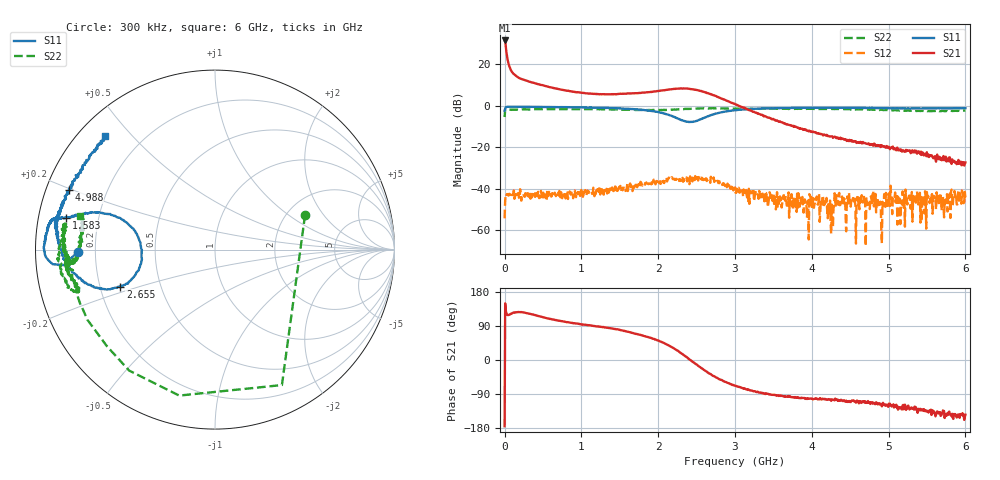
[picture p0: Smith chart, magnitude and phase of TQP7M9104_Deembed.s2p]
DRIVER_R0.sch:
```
<QucsStudio Schematic 4.3.1>
<Properties>
View=84,54,1525,937,1.02492,0,19
Grid=10,10,0
DataSet=*.dat
DataDisplay=*.sch
OpenDisplay=1
showFrame=0
FrameText0=Title
FrameText1=Drawn By:
FrameText2=Date:
FrameText3=Revision:
</Properties>
<Symbol>
</Symbol>
<Components>
Eqn Eqn1 1 300 120 0 8 0 0 "dBS11=dB(S[1,1])=" 1 "dBS21=dB(S[2,1])=" 1 "dBS12=dB(S[1,2])=" 1 "dBS22=dB(S[2,2])=" 1 "yes" 0
Pac P1 1 140 410 18 -26 0 0 "1" 1 "50 Ω" 1 "0 dBm" 0 "1 GHz" 0 "26.85" 0 "SUBCLICK" 0
GND * 1 250 410 0 0 0 0
Pac P2 1 360 410 18 -26 0 0 "2" 1 "50 Ω" 1 "0 dBm" 0 "1 GHz" 0 "26.85" 0 "SUBCLICK" 0
GND * 1 140 460 0 0 0 0
GND * 1 360 460 0 0 0 0
SPfile TQP7M9104_0 1 250 360 -26 -40 0 0 "TQP7M9104_Deembed.s2p" 0 "2" 0 "polar" 0 "linear" 0 "short" 0 "none" 0 "block" 0 "SOT23" 0
.SP SP1 1 140 100 0 63 0 0 "lin" 1 "1 GHz" 1 "6 GHz" 1 "501" 1 "no" 0 "1" 0 "2" 0 "none" 0
Eqn Eqn2 1 1120 120 0 8 0 0 "ZIN=50*(1+S[1,1])/(1-S[1,1])=" 1 "ZOUT=50*(1+S[2,2])/(1-S[2,2])=" 1 "yes" 0
</Components>
<Wires>
140 440 140 460 "" 0 0 0 ""
140 360 140 380 "" 0 0 0 ""
140 360 220 360 "" 0 0 0 ""
250 390 250 410 "" 0 0 0 ""
360 440 360 460 "" 0 0 0 ""
360 360 360 380 "" 0 0 0 ""
280 360 360 360 "" 0 0 0 ""
</Wires>
<Diagrams>
<Rect 180 820 428 214 31 #c0c0c0 1 00 0 1e+09 5e+08 6e+09 0 -20 4 20 0 -20 2 0 315 0 225 "" "" "">
	<Legend 10 -100 0>
	<"dBS11" "" #0000ff 0 3 0 0 1 0 "">
	<"dBS21" "" #ff0000 0 3 0 0 0 0 "">
	  <Mkr 2.4e+09 300 -270 3 1 0 0 0 50>
	  <Mkr 2.2e+09 0 -270 3 1 0 0 0 50>
	  <Mkr 2.3e+09 150 -270 3 1 0 0 0 50>
</Rect>
<Rect 740 820 428 214 31 #c0c0c0 1 00 0 1e+09 2e+08 3e+09 0 0 2 20 0 -20 2 0 315 0 225 "" "" "">
	<Legend 10 -100 0>
	<"dBS11" "" #0000ff 0 3 0 0 1 0 "">
	<"dBS21" "" #ff0000 0 3 0 0 0 0 "">
	  <Mkr 2.4e+09 300 -270 3 1 0 0 0 50>
	  <Mkr 2.3e+09 150 -270 3 1 0 0 0 50>
	  <Mkr 2.2e+09 0 -270 3 1 0 0 0 50>
</Rect>
<Smith 605 481 344 344 31 #c0c0c0 1 00 1 0 1 1 1 0 4 1 1 0 4 1 315 0 225 "" "" "">
	<Legend 10 -100 0>
	<"S[1,1]" "" #0000ff 0 3 0 0 0 0 "">
	  <Mkr 2.3e+09 -125 -371 3 1 0 0 1 50>
	<"S[2,2]" "" #ff0000 0 3 0 0 0 0 "">
	  <Mkr 2.3e+09 325 -371 3 1 0 0 1 50>
</Smith>
<Rect 1050 480 428 214 31 #c0c0c0 1 00 0 1e+09 2e+08 3e+09 1 0 200 800 1 0 0 0 315 0 225 "" "" "">
	<Legend 10 -100 0>
	<"ZIN" "" #0000ff 0 3 0 0 0 0 "">
	  <Mkr 2.3e+09 40 -200 3 1 0 0 0 50>
	<"ZOUT" "" #ff0000 0 3 0 0 0 0 "">
	  <Mkr 2.3e+09 40 -140 3 1 0 0 0 50>
</Rect>
</Diagrams>
<Paintings>
</Paintings>
```
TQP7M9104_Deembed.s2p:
! TriQuint Semiconductor
! Device: TQP7M9104 ( 5V 2W High Linearity Amplifier)
! 24 pin QFN 4X4mm SMT Package
! De-embedded S-parameter meausred using port extensions on the PCB.
! Port 1 extension : 196.83ps
! Port 2 extension : 193.02ps
! Network Analyzer HP8753E.07.72: Apr 03, 2002 Serial No. US38161002
! 25 Oct 2011  11:56:19
! Frequency  S11  S21  S12  S22
# HZ  S  DB R  50
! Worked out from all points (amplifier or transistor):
!   801 points, 300 kHz to 6 GHz, reference 50 ohm
!   highest |S21| = 31.5 dB at 7.8 MHz (marker M1)
!   |S21| within 3 dB of that: start of sweep to 16.06 MHz
!   unconditionally stable (mu >= 1): 229.2 MHz to 272.9 MHz; 316.3 MHz to 367.5 MHz; 490.2 MHz to end of sweep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
!   at 997.8 MHz: K = 1.32, MAG = 20.1 dB, |S12| = -40.6 dB
!   at 3 GHz: K = 4.97, MAG = 10.2 dB, |S12| = -39.4 dB
!   at 6 GHz: K = 167.10, MAG = -16.8 dB, |S12| = -44.1 dB
!   S11 on the Smith chart (normalised r, x): 300 kHz: 0.13, -0.01; 1.583 GHz: 0.08, +0.10; 2.655 GHz: 0.29, -0.17; 4.988 GHz: 0.07, +0.20; 6 GHz: 0.08, +0.42
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300000  -2.33 -179.1  31.53 -174.7  -54.30 149.6  -5.40 20.9
7799625  -1.44 -174.1  31.55 149.4  -45.53 54.6  -1.50 -63.7
3.779812e7  -0.47 -178.1  22.56 118.7  -42.58 6.3  -1.89 -145.8
4.529775e7  -0.45 -178.7  21.27 118.5  -43.12 18.9  -1.82 -151.1
9.779512e7  -0.41 179.0  16.25 123.4  -43.09 -5.6  -1.86 -165.4
3.452828e8  -0.53 174.0  11.38 120.9  -41.28 3.3  -1.74 -174.6
1.582721e9  -1.43 167.9  5.82 75.7  -40.81 -13.5  -1.89 -167.9
2.655167e9  -4.95 -158.7  6.00 -34.5  -35.34 -117.1  -1.26 -174.9
3.00015e9  -2.14 -169.2  0.90 -67.7  -39.42 -168.4  -1.45 175.3
4.987551e9  -1.11 157.8  -20.24 -120.2  -45.47 109.6  -2.09 -174.6
6e9  -1.12 133.9  -27.32 -144.4  -44.12 66.5  -2.20 165.8
